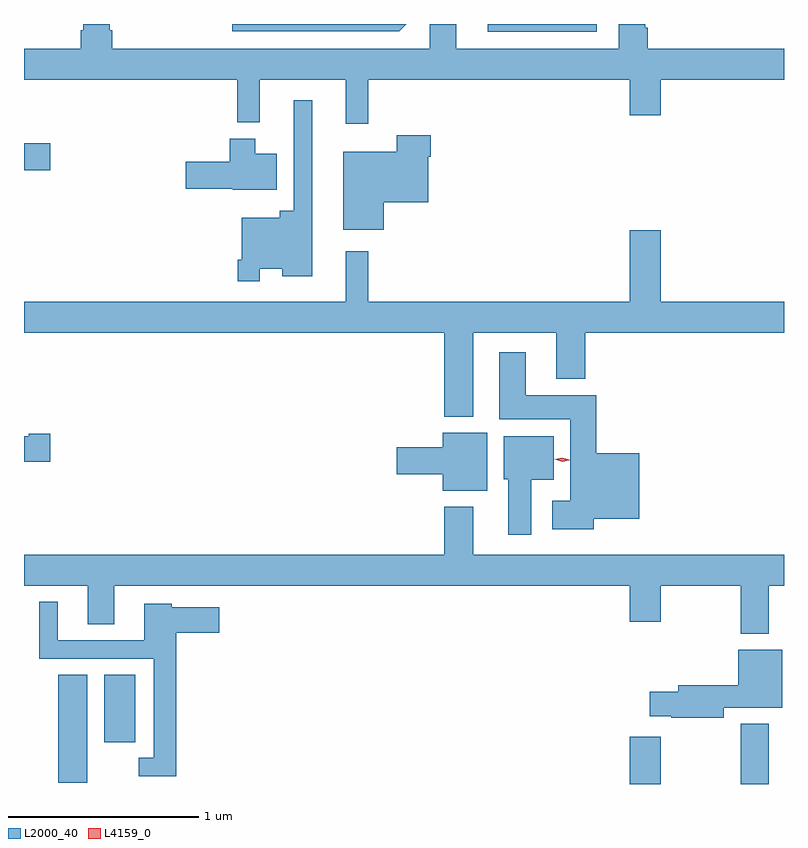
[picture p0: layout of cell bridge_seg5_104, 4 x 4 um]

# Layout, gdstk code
import gdstk
lib = gdstk.Library(unit=1e-6, precision=1e-09)
def R(c, l, rs):  # rectangles x0, y0, x1, y1
    for r in rs: c.add(gdstk.rectangle(r[:2], r[2:], *l))
def P(c, l, *ps):  # polygons
    for p in ps: c.add(gdstk.Polygon(p, *l))
L2000_40 = (2000, 40)
L4159_0 = (4159, 0)

bridge_seg5_104 = lib.new_cell('bridge_seg5_104')
R(bridge_seg5_104, L2000_40, [(524.648,845.061,524.812,845.311), (525.232,845.061,525.379,845.377), (521.639,845.067,521.794,845.636), (521.882,845.28,522.046,845.636), (521.46,848.291,521.599,848.433), (523.901,849.021,524.475,849.061)])
P(bridge_seg5_104, L2000_40, [(523.471,849.061),(522.555,849.061),(522.555,849.024),(523.434,849.024)],
  [(523.271,848.768),(524.648,848.768),(524.648,848.58),(524.812,848.58),(524.812,848.768),(525.46,848.768),(525.46,848.932),(524.744,848.932),(524.744,849.041),(524.73,849.041),(524.73,849.061),(524.591,849.061),(524.591,848.932),(523.735,848.932),(523.735,849.059),(523.596,849.059),(523.596,848.932),(521.924,848.932),(521.924,849.028),(521.911,849.028),(521.911,849.061),(521.771,849.061),(521.771,849.028),(521.759,849.028),(521.759,848.932),(521.46,848.932),(521.46,848.768),(522.583,848.768),(522.583,848.543),(522.701,848.543),(522.701,848.768),(523.154,848.768),(523.154,848.535),(523.271,848.535)],
  [(522.702,847.772),(522.818,847.772),(522.818,847.733),(522.976,847.733),(522.976,848.659),(522.879,848.659),(522.879,848.077),(522.806,848.077),(522.806,848.041),(522.606,848.041),(522.606,847.819),(522.586,847.819),(522.586,847.707),(522.702,847.707)],
  [(523.354,848.123),(523.588,848.123),(523.588,848.363),(523.601,848.363),(523.601,848.476),(523.423,848.476),(523.423,848.389),(523.139,848.389),(523.139,847.979),(523.354,847.979)],
  [(522.79,848.377),(522.676,848.377),(522.676,848.458),(522.542,848.458),(522.542,848.337),(522.312,848.337),(522.312,848.195),(522.558,848.195),(522.558,848.189),(522.79,848.189)],
  [(523.825,847.436),(524.261,847.436),(524.261,847.193),(524.414,847.193),(524.414,847.436),(525.46,847.436),(525.46,847.6),(524.812,847.6),(524.812,847.975),(524.648,847.975),(524.648,847.6),(523.271,847.6),(523.271,847.864),(523.154,847.864),(523.154,847.6),(521.46,847.6),(521.46,847.436),(523.673,847.436),(523.673,846.995),(523.825,846.995)],
  [(524.458,846.458),(524.698,846.458),(524.698,846.802),(524.471,846.802),(524.471,847.108),(524.101,847.108),(524.101,847.333),(523.961,847.333),(523.961,846.98),(524.336,846.98),(524.336,846.553),(524.241,846.553),(524.241,846.401),(524.458,846.401)],
  [(523.897,846.91),(523.664,846.91),(523.664,846.833),(523.422,846.833),(523.422,846.691),(523.664,846.691),(523.664,846.605),(523.897,846.605)],
  [(521.599,846.905),(521.486,846.905),(521.486,846.892),(521.46,846.892),(521.46,846.758),(521.599,846.758)],
  [(524.131,846.662),(524.248,846.662),(524.248,846.892),(523.985,846.892),(523.985,846.666),(524.009,846.666),(524.009,846.372),(524.131,846.372)],
  [(525.379,846.104),(525.46,846.104),(525.46,846.268),(523.825,846.268),(523.825,846.52),(523.673,846.52),(523.673,846.268),(521.46,846.268),(521.46,846.104),(521.795,846.104),(521.795,845.902),(521.935,845.902),(521.935,846.104),(524.648,846.104),(524.648,845.916),(524.812,845.916),(524.812,846.104),(525.232,846.104),(525.232,845.852),(525.379,845.852)],
  [(522.26,845.858),(522.487,845.858),(522.487,845.992),(522.237,845.992),(522.237,846.01),(522.092,846.01),(522.092,845.817),(521.638,845.817),(521.638,846.019),(521.54,846.019),(521.54,845.721),(522.144,845.721),(522.144,845.199),(522.063,845.199),(522.063,845.102),(522.26,845.102)],
  [(525.142,845.462),(525.451,845.462),(525.451,845.767),(525.218,845.767),(525.218,845.582),(524.903,845.582),(524.903,845.547),(524.754,845.547),(524.754,845.417),(524.866,845.417),(524.866,845.41),(525.142,845.41)])
P(bridge_seg5_104, L4159_0, [(524.292,846.758),(524.253,846.769),(524.253,846.769),(524.253,846.769),(524.292,846.778),(524.33,846.767),(524.33,846.766),(524.33,846.766)])

lib.write_gds('bridge_seg5_104.gds')
